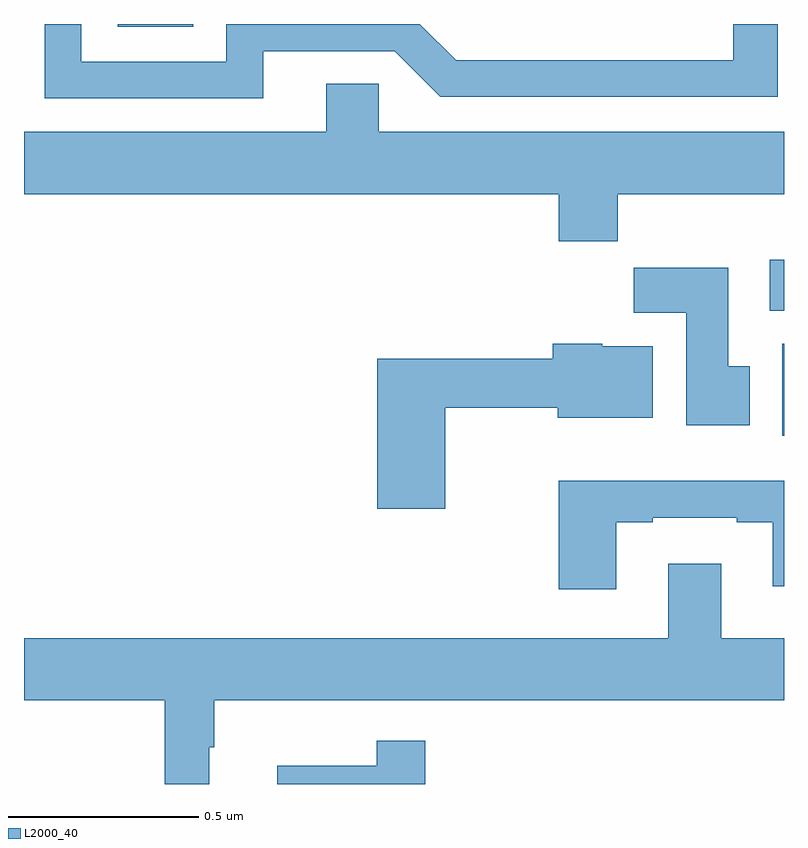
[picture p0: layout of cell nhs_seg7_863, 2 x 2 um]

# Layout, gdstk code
import gdstk
lib = gdstk.Library(unit=1e-6, precision=1e-09)
def R(c, l, rs):  # rectangles x0, y0, x1, y1
    for r in rs: c.add(gdstk.rectangle(r[:2], r[2:], *l))
def P(c, l, *ps):  # polygons
    for p in ps: c.add(gdstk.Polygon(p, *l))
L2000_40 = (2000, 40)

nhs_seg7_863 = lib.new_cell('nhs_seg7_863')
R(nhs_seg7_863, L2000_40, [(123.995,1063.916,124,1064.158), (123.963,1064.246,124,1064.38), (122.247,1064.993,122.445,1065)])
P(nhs_seg7_863, L2000_40, [(122.629,1064.928),(122.976,1064.928),(123.096,1064.808),(123.983,1064.808),(123.983,1065),(123.867,1065),(123.867,1064.904),(123.138,1064.904),(123.042,1065),(122.532,1065),(122.532,1064.901),(122.151,1064.901),(122.151,1065),(122.055,1065),(122.055,1064.805),(122.629,1064.805)],
  [(123.563,1064.552),(124,1064.552),(124,1064.716),(122.934,1064.716),(122.934,1064.843),(122.795,1064.843),(122.795,1064.716),(122,1064.716),(122,1064.552),(123.407,1064.552),(123.407,1064.428),(123.563,1064.428)],
  [(123.91,1064.1),(123.853,1064.1),(123.853,1064.359),(123.604,1064.359),(123.604,1064.24),(123.743,1064.24),(123.743,1063.944),(123.91,1063.944)],
  [(123.108,1063.99),(123.404,1063.99),(123.404,1063.964),(123.655,1063.964),(123.655,1064.152),(123.522,1064.152),(123.522,1064.158),(123.392,1064.158),(123.392,1064.119),(122.93,1064.119),(122.93,1063.725),(123.108,1063.725)],
  [(123.559,1063.689),(123.655,1063.689),(123.655,1063.701),(123.875,1063.701),(123.875,1063.689),(123.971,1063.689),(123.971,1063.52),(124,1063.52),(124,1063.798),(123.407,1063.798),(123.407,1063.512),(123.559,1063.512)],
  [(122.488,1063.097),(122.5,1063.097),(122.5,1063.22),(124,1063.22),(124,1063.384),(123.835,1063.384),(123.835,1063.579),(123.695,1063.579),(123.695,1063.384),(122,1063.384),(122,1063.22),(122.371,1063.22),(122.371,1063),(122.488,1063)],
  [(123.056,1063.114),(122.928,1063.114),(122.928,1063.048),(122.666,1063.048),(122.666,1063),(123.056,1063)])

lib.write_gds('nhs_seg7_863.gds')
